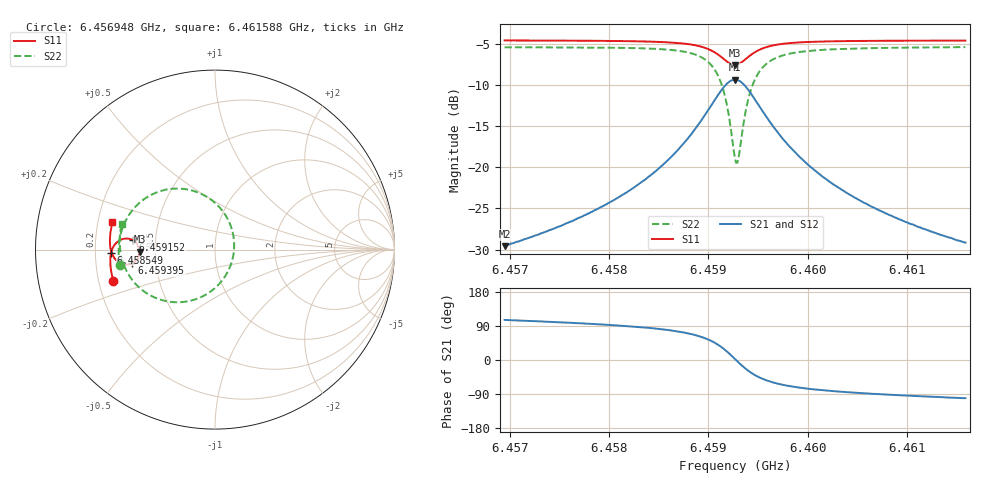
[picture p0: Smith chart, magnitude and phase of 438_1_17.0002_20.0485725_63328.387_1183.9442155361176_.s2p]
#  HZ  S  RI  R  50.00
! Rohde & Schwarz Vector Network Analyzer
! Rohde-Schwarz,ZNB20-2Port,1311601062101988,3.16
! Created: UTC 3/20/2024, 11:11:44 PM
! freq[Hz]  re:S11  im:S11  re:S21  im:S21  re:S12  im:S12  re:S22  im:S22
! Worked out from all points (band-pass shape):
!   401 points, 6.456948 GHz to 6.461588 GHz, reference 50 ohm
!   highest |S21| = -9.32 dB at 6.459268 GHz (marker M1); lowest = -29.6 dB at 6.456948 GHz (marker M2)
!   |S21| within 3 dB of the highest: 6.459036 GHz to 6.4595 GHz (464.3 kHz wide, 0.00719 % of centre)
!   lowest |S11| = -7.5 dB at 6.459268 GHz (marker M3), VSWR 2.45, Z = 20.4 - j0.53 ohm
!   |S11| at or under -10 dB: nowhere
!   |S22| runs from -19.4 to -5.4 dB; largest |S21 - S12| = 0.013
!   S11 on the Smith chart (normalised r, x): 6.456948 GHz: 0.26, -0.14; 6.458549 GHz: 0.27, -0.01; 6.459152 GHz: 0.37, +0.05; 6.459395 GHz: 0.37, -0.07; 6.461588 GHz: 0.26, +0.12
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6.4569476e9  -0.566 -0.1744  -0.00902 0.0319  -0.00726 0.0321  -0.5308 -0.0874
6.4577249e9  -0.5804 -0.1067  -0.00575 0.0499  -0.00325 0.0493  -0.5369 0.00291
6.4581657e9  -0.5835 -0.0627  0.000399 0.0699  0.00361 0.0685  -0.5285 0.0724
6.4585021e9  -0.5799 -0.0225  0.0137 0.0977  0.0177 0.0951  -0.5041 0.1478
6.4585485e9  -0.5785 -0.0162  0.0172 0.1033  0.0211 0.1003  -0.4978 0.1608
6.4587574e9  -0.5664 0.0156  0.0429 0.1346  0.0471 0.1299  -0.4495 0.232
6.4589082e9  -0.5452 0.0418  0.0852 0.1648  0.0886 0.1582  -0.3715 0.2961
6.459059e9  -0.4996 0.0615  0.1763 0.1838  0.1773 0.1763  -0.2053 0.3401
6.4591518e9  -0.4555 0.0515  0.2653 0.153  0.2655 0.1471  -0.0401 0.2907
6.4591982e9  -0.4344 0.033  0.3086 0.1107  0.3099 0.1054  0.0421 0.2155
6.4592678e9  -0.4196 -0.0107  0.3418 0.0148  0.3454 0.00791  0.1068 0.0377
6.4592794e9  -0.4202 -0.0187  0.3417 -0.00273  0.3454 -0.0104  0.1065 0.00434
6.4593026e9  -0.4236 -0.034  0.3362 -0.0372  0.34 -0.0462  0.0958 -0.0608
6.459349e9  -0.439 -0.0598  0.3081 -0.0967  0.3103 -0.1083  0.0393 -0.1729
6.4593954e9  -0.4608 -0.0759  0.2667 -0.1373  0.2658 -0.1504  -0.0447 -0.2472
6.4594882e9  -0.5037 -0.0826  0.1827 -0.1684  0.1767 -0.1797  -0.2117 -0.2934
6.459639e9  -0.5472 -0.0622  0.0957 -0.155  0.0873 -0.161  -0.3779 -0.2449
6.4598014e9  -0.5686 -0.0345  0.0511 -0.1274  0.0436 -0.1301  -0.4579 -0.1735
6.4600451e9  -0.581 0.000873  0.0223 -0.0963  0.0164 -0.0968  -0.5055 -0.0917
6.4604047e9  -0.5856 0.0434  0.00605 -0.0691  0.00201 -0.0685  -0.5272 -0.0109
6.4608223e9  -0.5835 0.0851  -0.00136 -0.0513  -0.00423 -0.0505  -0.5311 0.0551
6.461588e9  -0.5712 0.1527  -0.00644 -0.0342  -0.00815 -0.0333  -0.5197 0.1447
